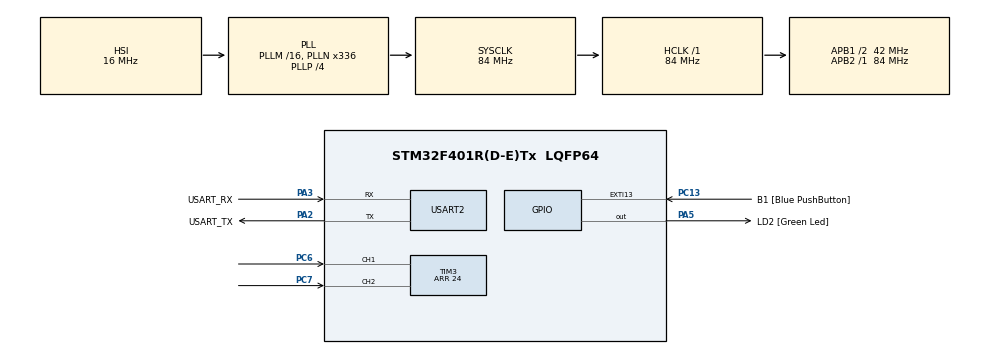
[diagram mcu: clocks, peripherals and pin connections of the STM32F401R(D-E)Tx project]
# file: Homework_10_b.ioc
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Dma.Request0=USART2_TX
Dma.USART2_TX.0.Direction=DMA_MEMORY_TO_PERIPH
Dma.USART2_TX.0.FIFOMode=DMA_FIFOMODE_DISABLE
Dma.USART2_TX.0.Instance=DMA1_Stream6
Dma.USART2_TX.0.MemDataAlignment=DMA_MDATAALIGN_BYTE
Dma.USART2_TX.0.MemInc=DMA_MINC_ENABLE
Dma.USART2_TX.0.Mode=DMA_NORMAL
Dma.USART2_TX.0.PeriphDataAlignment=DMA_PDATAALIGN_BYTE
Dma.USART2_TX.0.PeriphInc=DMA_PINC_DISABLE
Dma.USART2_TX.0.Priority=DMA_PRIORITY_LOW
Mcu.Family=STM32F4
Mcu.Name=STM32F401R(D-E)Tx
Mcu.Package=LQFP64
NVIC.DMA1_Stream6_IRQn=true\:0\:0\:false\:false\:true\:false\:true\:true
NVIC.PriorityGroup=NVIC_PRIORITYGROUP_0
NVIC.TIM1_UP_TIM10_IRQn=true\:0\:0\:false\:false\:true\:true\:true\:true
NVIC.TIM3_IRQn=true\:0\:0\:false\:false\:true\:true\:true\:true
NVIC.USART2_IRQn=true\:0\:0\:false\:false\:true\:true\:true\:true
PA13.GPIO_Label=TMS
PA13.Mode=Serial_Wire
PA13.Signal=SYS_JTMS-SWDIO
PA14.GPIO_Label=TCK
PA14.Mode=Serial_Wire
PA14.Signal=SYS_JTCK-SWCLK
PA2.GPIO_Label=USART_TX
PA2.GPIO_Mode=GPIO_MODE_AF_PP
PA2.GPIO_PuPd=GPIO_NOPULL
PA2.GPIO_Speed=GPIO_SPEED_FREQ_LOW
PA2.Mode=Asynchronous
PA2.Signal=USART2_TX
PA3.GPIO_Label=USART_RX
PA3.GPIO_Mode=GPIO_MODE_AF_PP
PA3.GPIO_PuPd=GPIO_NOPULL
PA3.GPIO_Speed=GPIO_SPEED_FREQ_LOW
PA3.Mode=Asynchronous
PA3.Signal=USART2_RX
PA5.GPIO_Label=LD2 [Green Led]
PA5.GPIO_Mode=GPIO_MODE_OUTPUT_PP
PA5.GPIO_PuPd=GPIO_NOPULL
PA5.GPIO_Speed=GPIO_SPEED_FREQ_LOW
PA5.Signal=GPIO_Output
PB3.GPIO_Label=SWO
PB3.Signal=SYS_JTDO-SWO
PC13-ANTI_TAMP.GPIO_Label=B1 [Blue PushButton]
PC13-ANTI_TAMP.GPIO_ModeDefaultEXTI=GPIO_MODE_IT_FALLING
PC13-ANTI_TAMP.GPIO_PuPd=GPIO_NOPULL
PC13-ANTI_TAMP.Signal=GPXTI13
PC14-OSC32_IN.Mode=LSE-External-Oscillator
PC14-OSC32_IN.Signal=RCC_OSC32_IN
PC15-OSC32_OUT.Mode=LSE-External-Oscillator
PC15-OSC32_OUT.Signal=RCC_OSC32_OUT
PC6.Signal=S_TIM3_CH1
PC7.Signal=S_TIM3_CH2
PH0\ -\ OSC_IN.Mode=HSE-External-Clock-Source
PH0\ -\ OSC_IN.Signal=RCC_OSC_IN
PH1\ -\ OSC_OUT.Mode=HSE-External-Clock-Source
PH1\ -\ OSC_OUT.Signal=RCC_OSC_OUT
ProjectManager.HeapSize=0x200
ProjectManager.StackSize=0x400
ProjectManager.TargetToolchain=STM32CubeIDE
RCC.48MHZClocksFreq_Value=48000000
RCC.AHBFreq_Value=84000000
RCC.APB1CLKDivider=RCC_HCLK_DIV2
RCC.APB1Freq_Value=42000000
RCC.APB1TimFreq_Value=84000000
RCC.APB2Freq_Value=84000000
RCC.APB2TimFreq_Value=84000000
RCC.CortexFreq_Value=84000000
RCC.HCLKFreq_Value=84000000
RCC.HSE_VALUE=8000000
RCC.HSI_VALUE=16000000
RCC.PLLN=336
RCC.PLLP=RCC_PLLP_DIV4
RCC.PLLQ=7
RCC.SYSCLKFreq_VALUE=84000000
RCC.SYSCLKSource=RCC_SYSCLKSOURCE_PLLCLK
RCC.VCOOutputFreq_Value=336000000
SH.S_TIM3_CH1.0=TIM3_CH1,Encoder_Interface
SH.S_TIM3_CH2.0=TIM3_CH2,Encoder_Interface
TIM1.Period=9999
TIM1.Prescaler=8399
TIM1.TIM_MasterOutputTrigger=TIM_TRGO_UPDATE
TIM3.Period=24
USART2.VirtualMode=VM_ASYNC
VP_TIM1_VS_ClockSourceINT.Mode=Internal
board=NUCLEO-F401RE

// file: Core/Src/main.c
/* USER CODE BEGIN Header */
/**
  ******************************************************************************
  * @file           : main.c
  * @brief          : Main program body
  ******************************************************************************
  * @attention
  *
  * Copyright (c) 2024 STMicroelectronics.
  * All rights reserved.
  *
  * This software is licensed under terms that can be found in the LICENSE file
  * in the root directory of this software component.
  * If no LICENSE file comes with this software, it is provided AS-IS.
  *
  ******************************************************************************
  */
/* USER CODE END Header */
#include "main.h"

/* USER CODE BEGIN Includes */
#include <stdio.h>
/* USER CODE END Includes */

TIM_HandleTypeDef htim1;
TIM_HandleTypeDef htim3;

UART_HandleTypeDef huart2;
DMA_HandleTypeDef hdma_usart2_tx;

/* USER CODE BEGIN PV */
uint8_t txBuffer[64];     // Buffer to store the string to send over USART
uint16_t PREV_COUNTER = 0;
float REVOLUTION_COUNTS = 48; // Amount of steps in full revolution
float SAMPLE_TIME = 1; //Sample time in seconds
/* USER CODE END PV */

void SystemClock_Config(void);
static void MX_GPIO_Init(void);
static void MX_DMA_Init(void);
static void MX_USART2_UART_Init(void);
static void MX_TIM3_Init(void);
static void MX_TIM1_Init(void);

/* USER CODE BEGIN 0 */

/* A WORD ON OVERFLOWS
 *
 * Simply put: you cannot avoid overflows. You can mitigate them, yes, but you
 * cannot avoid them. How can you mitigate your overflows? Using a bigger counter!
 * More bits -> less overflow. So, one approach would be to use a 32 bit timer
 * instead of a 16 bit one, as in tim3 case. Unfortunately, we are constrained in
 * this sense by the fact that the encoder is already connected to certain pins.
 * Bad choice if overflows are a problem, but that's what we have to work with.
 *
 * As a fallback, we could "extend" the timer in software. For example, we could
 * use the interrupt feature of the timer to increment or decrement a 16 bit
 * variable, so that we basically get the same as a 32 bit timer, but usign the
 * software. This clearly is just a mitigation, and one important assumption here
 * is that we do not miss an interrupt, and that less than 2 overflows occur in
 * the worst possible preemption scenario (this depends both on the system and on
 * the encoder). At some point, even our extended 32 bit timer will eventually
 * overflow.
 *
 * In our particular case, we are interested in the speed, thus we can erase our
 * counter every read. so the sizing of our extenion bits depends on a particular
 * question: how many overflows can we expect in the timespan of a read (1 sec)?
 *
 */
void HAL_TIM_PeriodElapsedCallback(TIM_HandleTypeDef *htim)
{
 if (htim->Instance == TIM1)
 {
	// Get counter
	uint16_t CurrentCounter = __HAL_TIM_GET_COUNTER(&htim3);
	// Calculate delta
	int16_t delta = CurrentCounter - PREV_COUNTER;
	if (delta > (INT16_MAX / 2)) {
		// Counter wrapped in the positive direction
		delta -= UINT16_MAX;
	}
	else if (delta < -(INT16_MAX / 2)) {
		// Counter wrapped in the negative direction
		delta += UINT16_MAX;
	}

	// Convert to rpms
	float rpm = (delta * 60) / (REVOLUTION_COUNTS * SAMPLE_TIME);
	// Save to buffer and send
	snprintf((char*)txBuffer, sizeof(txBuffer), "Rotation speed: %+.2f RPM\n", rpm);
	HAL_UART_Transmit_DMA(&huart2, txBuffer, sizeof(txBuffer));
	PREV_COUNTER = CurrentCounter;
 }
}

/* USER CODE END 0 */

int main(void)
{

  /* MCU Configuration--------------------------------------------------------*/

  /* Reset of all peripherals, Initializes the Flash interface and the Systick. */
  HAL_Init();

  /* Configure the system clock */
  SystemClock_Config();

  /* Initialize all configured peripherals */
  MX_GPIO_Init();
  MX_DMA_Init();
  MX_USART2_UART_Init();
  MX_TIM3_Init();
  MX_TIM1_Init();
  /* USER CODE BEGIN 2 */

  /** Start the encoder **/
  if(HAL_TIM_Encoder_Start(&htim3, TIM_CHANNEL_ALL) != HAL_OK)
  {
  	  Error_Handler();
  }

  /** Start the timer (1sec) **/
  if(HAL_TIM_Base_Start_IT(&htim1) != HAL_OK)
  {
  	  Error_Handler();
  }

  /* USER CODE END 2 */

  /* Infinite loop */
  while (1)
  {

  }
}

void SystemClock_Config(void)
{
  RCC_OscInitTypeDef RCC_OscInitStruct = {0};
  RCC_ClkInitTypeDef RCC_ClkInitStruct = {0};

  /** Configure the main internal regulator output voltage
  */
  __HAL_RCC_PWR_CLK_ENABLE();
  __HAL_PWR_VOLTAGESCALING_CONFIG(PWR_REGULATOR_VOLTAGE_SCALE2);

  /** Initializes the RCC Oscillators according to the specified parameters
  * in the RCC_OscInitTypeDef structure.
  */
  RCC_OscInitStruct.OscillatorType = RCC_OSCILLATORTYPE_HSI;
  RCC_OscInitStruct.HSIState = RCC_HSI_ON;
  RCC_OscInitStruct.HSICalibrationValue = RCC_HSICALIBRATION_DEFAULT;
  RCC_OscInitStruct.PLL.PLLState = RCC_PLL_ON;
  RCC_OscInitStruct.PLL.PLLSource = RCC_PLLSOURCE_HSI;
  RCC_OscInitStruct.PLL.PLLM = 16;
  RCC_OscInitStruct.PLL.PLLN = 336;
  RCC_OscInitStruct.PLL.PLLP = RCC_PLLP_DIV4;
  RCC_OscInitStruct.PLL.PLLQ = 7;
  if (HAL_RCC_OscConfig(&RCC_OscInitStruct) != HAL_OK)
  {
    Error_Handler();
  }

  /** Initializes the CPU, AHB and APB buses clocks
  */
  RCC_ClkInitStruct.ClockType = RCC_CLOCKTYPE_HCLK|RCC_CLOCKTYPE_SYSCLK
                              |RCC_CLOCKTYPE_PCLK1|RCC_CLOCKTYPE_PCLK2;
  RCC_ClkInitStruct.SYSCLKSource = RCC_SYSCLKSOURCE_PLLCLK;
  RCC_ClkInitStruct.AHBCLKDivider = RCC_SYSCLK_DIV1;
  RCC_ClkInitStruct.APB1CLKDivider = RCC_HCLK_DIV2;
  RCC_ClkInitStruct.APB2CLKDivider = RCC_HCLK_DIV1;

  if (HAL_RCC_ClockConfig(&RCC_ClkInitStruct, FLASH_LATENCY_2) != HAL_OK)
  {
    Error_Handler();
  }
}

static void MX_TIM1_Init(void)
{

  TIM_ClockConfigTypeDef sClockSourceConfig = {0};
  TIM_MasterConfigTypeDef sMasterConfig = {0};

  htim1.Instance = TIM1;
  htim1.Init.Prescaler = 8399;
  htim1.Init.CounterMode = TIM_COUNTERMODE_UP;
  htim1.Init.Period = 9999;
  htim1.Init.ClockDivision = TIM_CLOCKDIVISION_DIV1;
  htim1.Init.RepetitionCounter = 0;
  htim1.Init.AutoReloadPreload = TIM_AUTORELOAD_PRELOAD_DISABLE;
  if (HAL_TIM_Base_Init(&htim1) != HAL_OK)
  {
    Error_Handler();
  }
  sClockSourceConfig.ClockSource = TIM_CLOCKSOURCE_INTERNAL;
  if (HAL_TIM_ConfigClockSource(&htim1, &sClockSourceConfig) != HAL_OK)
  {
    Error_Handler();
  }
  sMasterConfig.MasterOutputTrigger = TIM_TRGO_UPDATE;
  sMasterConfig.MasterSlaveMode = TIM_MASTERSLAVEMODE_DISABLE;
  if (HAL_TIMEx_MasterConfigSynchronization(&htim1, &sMasterConfig) != HAL_OK)
  {
    Error_Handler();
  }

}

static void MX_TIM3_Init(void)
{

  TIM_Encoder_InitTypeDef sConfig = {0};
  TIM_MasterConfigTypeDef sMasterConfig = {0};

  htim3.Instance = TIM3;
  htim3.Init.Prescaler = 0;
  htim3.Init.CounterMode = TIM_COUNTERMODE_UP;
  htim3.Init.Period = 24;
  htim3.Init.ClockDivision = TIM_CLOCKDIVISION_DIV1;
  htim3.Init.AutoReloadPreload = TIM_AUTORELOAD_PRELOAD_DISABLE;
  sConfig.EncoderMode = TIM_ENCODERMODE_TI1;
  sConfig.IC1Polarity = TIM_ICPOLARITY_RISING;
  sConfig.IC1Selection = TIM_ICSELECTION_DIRECTTI;
  sConfig.IC1Prescaler = TIM_ICPSC_DIV1;
  sConfig.IC1Filter = 0;
  sConfig.IC2Polarity = TIM_ICPOLARITY_RISING;
  sConfig.IC2Selection = TIM_ICSELECTION_DIRECTTI;
  sConfig.IC2Prescaler = TIM_ICPSC_DIV1;
  sConfig.IC2Filter = 0;
  if (HAL_TIM_Encoder_Init(&htim3, &sConfig) != HAL_OK)
  {
    Error_Handler();
  }
  sMasterConfig.MasterOutputTrigger = TIM_TRGO_RESET;
  sMasterConfig.MasterSlaveMode = TIM_MASTERSLAVEMODE_DISABLE;
  if (HAL_TIMEx_MasterConfigSynchronization(&htim3, &sMasterConfig) != HAL_OK)
  {
    Error_Handler();
  }

}

static void MX_USART2_UART_Init(void)
{

  huart2.Instance = USART2;
  huart2.Init.BaudRate = 115200;
  huart2.Init.WordLength = UART_WORDLENGTH_8B;
  huart2.Init.StopBits = UART_STOPBITS_1;
  huart2.Init.Parity = UART_PARITY_NONE;
  huart2.Init.Mode = UART_MODE_TX_RX;
  huart2.Init.HwFlowCtl = UART_HWCONTROL_NONE;
  huart2.Init.OverSampling = UART_OVERSAMPLING_16;
  if (HAL_UART_Init(&huart2) != HAL_OK)
  {
    Error_Handler();
  }

}

static void MX_DMA_Init(void)
{

  /* DMA controller clock enable */
  __HAL_RCC_DMA1_CLK_ENABLE();

  /* DMA interrupt init */
  /* DMA1_Stream6_IRQn interrupt configuration */
  HAL_NVIC_SetPriority(DMA1_Stream6_IRQn, 0, 0);
  HAL_NVIC_EnableIRQ(DMA1_Stream6_IRQn);

}

static void MX_GPIO_Init(void)
{
  GPIO_InitTypeDef GPIO_InitStruct = {0};

  /* GPIO Ports Clock Enable */
  __HAL_RCC_GPIOC_CLK_ENABLE();
  __HAL_RCC_GPIOH_CLK_ENABLE();
  __HAL_RCC_GPIOA_CLK_ENABLE();
  __HAL_RCC_GPIOB_CLK_ENABLE();

  /*Configure GPIO pin Output Level */
  HAL_GPIO_WritePin(LD2_GPIO_Port, LD2_Pin, GPIO_PIN_RESET);

  /*Configure GPIO pin : B1_Pin */
  GPIO_InitStruct.Pin = B1_Pin;
  GPIO_InitStruct.Mode = GPIO_MODE_IT_FALLING;
  GPIO_InitStruct.Pull = GPIO_NOPULL;
  HAL_GPIO_Init(B1_GPIO_Port, &GPIO_InitStruct);

  /*Configure GPIO pin : LD2_Pin */
  GPIO_InitStruct.Pin = LD2_Pin;
  GPIO_InitStruct.Mode = GPIO_MODE_OUTPUT_PP;
  GPIO_InitStruct.Pull = GPIO_NOPULL;
  GPIO_InitStruct.Speed = GPIO_SPEED_FREQ_LOW;
  HAL_GPIO_Init(LD2_GPIO_Port, &GPIO_InitStruct);

}

void Error_Handler(void)
{
  __disable_irq();
  while (1)
  {
  }
}
